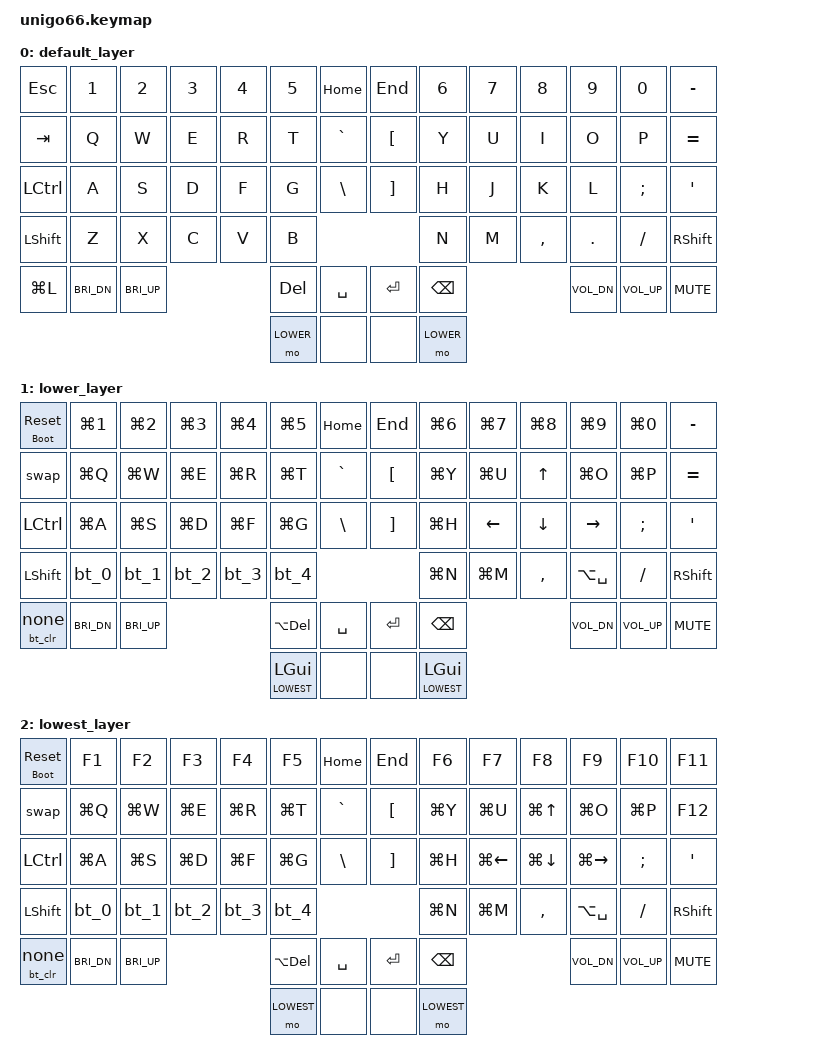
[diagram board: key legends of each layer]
/*
 * Copyright (c) 2020 The ZMK Contributors
 *
 * SPDX-License-Identifier: MIT
 */

#include <behaviors.dtsi>
#include <dt-bindings/zmk/keys.h>
#include <dt-bindings/zmk/bt.h>
#include <dt-bindings/zmk/outputs.h>

#define BASE 0
#define LOWER 1
#define LOWEST 2

/ {
    macros {
        bt_clr: bt-macro {
            compatible = "zmk,behavior-macro";
            #binding-cells = <0>;
            bindings = <&macro_tap &bt BT_CLR>;
        };
        bt_0: bt-sel-0 {
            compatible = "zmk,behavior-macro";
            #binding-cells = <0>;
            bindings = <&macro_tap &out OUT_USB &bt BT_ADV_OFF &bt BT_DISC 1 &bt BT_DISC 2 &bt BT_DISC 3 &bt BT_DISC 4>;
        };
        bt_1: bt-sel-1 {
            compatible = "zmk,behavior-macro";
            #binding-cells = <0>;
            bindings = <&macro_tap &out OUT_BLE &bt BT_ADV_ON &bt BT_SEL 1>;
        };
        bt_2: bt-sel-2 {
            compatible = "zmk,behavior-macro";
            #binding-cells = <0>;
            bindings = <&macro_tap &out OUT_BLE &bt BT_ADV_ON &bt BT_SEL 2>;
        };
        bt_3: bt-sel-3 {
            compatible = "zmk,behavior-macro";
            #binding-cells = <0>;
            bindings = <&macro_tap &out OUT_BLE &bt BT_ADV_ON &bt BT_SEL 3>;
        };
        bt_4: bt-sel-4 {
            compatible = "zmk,behavior-macro";
            #binding-cells = <0>;
            bindings = <&macro_tap &out OUT_BLE &bt BT_ADV_ON &bt BT_SEL 4>;
        };
    };

    behaviors {
        bt_lp: behavior_bt_lp {
            compatible = "zmk,behavior-hold-tap";
            #binding-cells = <2>;
            flavor = "tap-preferred";
            tapping-term-ms = <1000>;
            bindings = <&bt_clr>, <&none>;
        };
        rst_lp: behavior_rst_lp {
            compatible = "zmk,behavior-hold-tap";
            #binding-cells = <2>;
            flavor = "tap-preferred";
            tapping-term-ms = <1000>;
            bindings = <&bootloader>, <&sys_reset>;
        };
    };

    swap: swapper {
        compatible = "zmk,behavior-tri-state";
        #binding-cells = <0>;
        bindings = <&kt LALT>, <&kp TAB>, <&kt LALT>;
        ignored-key-positions = <42 55>;
    };

    keymap {
        compatible = "zmk,keymap";

        default_layer {
// ┏━━━━━━━┳━━━━━┳━━━━━┳━━━━━┳━━━━━┳━━━━━┳━━━━━┓            ┏━━━━━┳━━━━━┳━━━━━┳━━━━━┳━━━━━┳━━━━━┳━━━━━━━┓
// ┃  ESC  ┃  1  ┃  2  ┃  3  ┃  4  ┃  5  ┃ HOME┃            ┃ END ┃  6  ┃  7  ┃  8  ┃  9  ┃  0  ┃   -   ┃
// ┣━━━━━━━╋━━━━━╋━━━━━╋━━━━━╋━━━━━╋━━━━━╋━━━━━┫            ┣━━━━━╋━━━━━╋━━━━━╋━━━━━╋━━━━━╋━━━━━╋━━━━━━━┫
// ┃  TAB  ┃  Q  ┃  W  ┃  E  ┃  R  ┃  T  ┃  `  ┃            ┃  [  ┃  Y  ┃  U  ┃  I  ┃  O  ┃  P  ┃   =   ┃
// ┣━━━━━━━╋━━━━━╋━━━━━╋━━━━━╋━━━━━╋━━━━━┫     ┃            ┃     ┣━━━━━╋━━━━━╋━━━━━╋━━━━━╋━━━━━╋━━━━━━━┫
// ┃  CTRL ┃  A  ┃  S  ┃  D  ┃  F  ┃  G  ┣━━━━━┫            ┣━━━━━┫  H  ┃  J  ┃  K  ┃  L  ┃  ;  ┃   '   ┃
// ┣━━━━━━━╋━━━━━╋━━━━━╋━━━━━╋━━━━━╋━━━━━┃  \  ┃            ┃  ]  ┣━━━━━╋━━━━━╋━━━━━╋━━━━━╋━━━━━╋━━━━━━━┫
// ┃  SHFT ┃  Z  ┃  X  ┃  C  ┃  V  ┃  B  ┃     ┃            ┃     ┃  N  ┃  M  ┃  ,  ┃  .  ┃  /  ┃ SHFT  ┃
// ┗━┳━━━━━╋━━━━━╋━━━━━╋━━━━━┻━━━━━╋━━━━━╋━━━━━┫            ┣━━━━━╋━━━━━╋━━━━━┻━━━━━╋━━━━━╋━━━━━╋━━━━━┳━┛
//   ┃SLEEP┃ BRT-┃ BRT+┃           ┃ DEL ┃     ┃            ┃     ┃ BSP ┃           ┃VOL- ┃VOL+ ┃MUTE ┃
//   ┗━━━━━┻━━━━━┻━━━━━┛           ┣━━━━━┫ SPC ┃            ┃ ENT ┣━━━━━┫           ┗━━━━━┻━━━━━┻━━━━━┛
//                                 ┃ LWR ┃     ┃            ┃     ┃ LWR ┃
//                                 ┗━━━━━┻━━━━━┛            ┗━━━━━┻━━━━━┛
            bindings = <
&kp ESC   &kp N1       &kp N2       &kp N3 &kp N4 &kp N5    &kp HOME       &kp END   &kp N6    &kp N7 &kp N8    &kp N9       &kp N0       &kp MINUS
&kp TAB   &kp Q        &kp W        &kp E  &kp R  &kp T     &kp GRAVE      &kp LBKT  &kp Y     &kp U  &kp I     &kp O        &kp P        &kp EQUAL
&kp LCTRL &kp A        &kp S        &kp D  &kp F  &kp G     &kp BSLH       &kp RBKT  &kp H     &kp J  &kp K     &kp L        &kp SEMI     &kp SQT
&kp LSHFT &kp Z        &kp X        &kp C  &kp V  &kp B                              &kp N     &kp M  &kp COMMA &kp DOT      &kp FSLH     &kp RSHFT
&kp LG(L) &kp C_BRI_DN &kp C_BRI_UP               &kp DEL   &kp SPACE      &kp ENTER &kp BSPC                   &kp C_VOL_DN &kp C_VOL_UP &kp C_MUTE
                                                  &mo LOWER &none          &none     &mo LOWER
            >;
        };

        lower_layer {
// ┏━━━━━━━┳━━━━━┳━━━━━┳━━━━━┳━━━━━┳━━━━━┳━━━━━┓            ┏━━━━━┳━━━━━┳━━━━━┳━━━━━┳━━━━━┳━━━━━┳━━━━━━━┓
// ┃  RST  ┃ Win1┃ Win2┃ Win3┃ Win4┃ Win5┃ HOME┃            ┃ END ┃Win6 ┃Win7 ┃Win8 ┃Win9 ┃Win0 ┃   -   ┃
// ┣━━━━━━━╋━━━━━╋━━━━━╋━━━━━╋━━━━━╋━━━━━╋━━━━━┫            ┣━━━━━╋━━━━━╋━━━━━╋━━━━━╋━━━━━╋━━━━━╋━━━━━━━┫
// ┃ AlTAB ┃ WinQ┃ WinW┃ WinE┃ WinR┃ WinT┃  `  ┃            ┃  [  ┃WinY ┃WinU ┃  ↑  ┃WinO ┃WinP ┃   =   ┃
// ┣━━━━━━━╋━━━━━╋━━━━━╋━━━━━╋━━━━━╋━━━━━┫     ┃            ┃     ┣━━━━━╋━━━━━╋━━━━━╋━━━━━╋━━━━━╋━━━━━━━┫
// ┃  CTRL ┃ WinA┃ WinS┃ WinD┃ WinF┃ WinG┣━━━━━┫            ┣━━━━━┫WinH ┃  ←  ┃  ↓  ┃  →  ┃  ;  ┃   '   ┃
// ┣━━━━━━━╋━━━━━╋━━━━━╋━━━━━╋━━━━━╋━━━━━┃  \  ┃            ┃  ]  ┣━━━━━╋━━━━━╋━━━━━╋━━━━━╋━━━━━╋━━━━━━━┫
// ┃  SHFT ┃ BT0 ┃ BT1 ┃ BT2 ┃ BT3 ┃ BT4 ┃     ┃            ┃     ┃WinN ┃WinM ┃  ,  ┃EMOJI┃  /  ┃ SHFT  ┃
// ┗━┳━━━━━╋━━━━━╋━━━━━╋━━━━━┻━━━━━╋━━━━━╋━━━━━┫            ┣━━━━━╋━━━━━╋━━━━━┻━━━━━╋━━━━━╋━━━━━╋━━━━━┳━┛
//   ┃BTCLR┃ BRT-┃ BRT+┃           ┃AltDL┃     ┃            ┃     ┃ BSP ┃           ┃VOL- ┃VOL+ ┃MUTE ┃
//   ┗━━━━━┻━━━━━┻━━━━━┛           ┣━━━━━┫ SPC ┃            ┃ ENT ┣━━━━━┫           ┗━━━━━┻━━━━━┻━━━━━┛
//                                 ┃ Win ┃     ┃            ┃     ┃ Win ┃
//                                 ┗━━━━━┻━━━━━┛            ┗━━━━━┻━━━━━┛
            bindings = <
&rst_lp 0 0 &kp LG(N1)   &kp LG(N2)   &kp LG(N3) &kp LG(N4) &kp LG(N5)      &kp HOME       &kp END   &kp LG(N6)      &kp LG(N7) &kp LG(N8) &kp LG(N9)   &kp LG(N0)   &kp MINUS
&swap       &kp LG(Q)    &kp LG(W)    &kp LG(E)  &kp LG(R)  &kp LG(T)       &kp GRAVE      &kp LBKT  &kp LG(Y)       &kp LG(U)  &kp UP     &kp LG(O)    &kp LG(P)    &kp EQUAL
&kp LCTRL   &kp LG(A)    &kp LG(S)    &kp LG(D)  &kp LG(F)  &kp LG(G)       &kp BSLH       &kp RBKT  &kp LG(H)       &kp LEFT   &kp DOWN   &kp RIGHT    &kp SEMI     &kp SQT
&kp LSHFT   &bt_0        &bt_1        &bt_2      &bt_3      &bt_4                                    &kp LG(N)       &kp LG(M)  &kp COMMA  &kp LA(SPC)  &kp FSLH     &kp RSHFT
&bt_lp 0 0  &kp C_BRI_DN &kp C_BRI_UP                       &kp LA(DEL)     &kp SPACE      &kp ENTER &kp BSPC                              &kp C_VOL_DN &kp C_VOL_UP &kp C_MUTE
                                                            &lt LOWEST LGUI &none          &none     &lt LOWEST LGUI
            >;
        };

        lowest_layer {
// ┏━━━━━━━┳━━━━━┳━━━━━┳━━━━━┳━━━━━┳━━━━━┳━━━━━┓            ┏━━━━━┳━━━━━┳━━━━━┳━━━━━┳━━━━━┳━━━━━┳━━━━━━━┓
// ┃  RST  ┃ Win1┃ Win2┃ Win3┃ Win4┃ Win5┃ HOME┃            ┃ END ┃Win6 ┃Win7 ┃Win8 ┃Win9 ┃Win0 ┃   -   ┃
// ┣━━━━━━━╋━━━━━╋━━━━━╋━━━━━╋━━━━━╋━━━━━╋━━━━━┫            ┣━━━━━╋━━━━━╋━━━━━╋━━━━━╋━━━━━╋━━━━━╋━━━━━━━┫
// ┃ AlTAB ┃ WinQ┃ WinW┃ WinE┃ WinR┃ WinT┃  `  ┃            ┃  [  ┃WinY ┃WinU ┃  ↑  ┃WinO ┃WinP ┃   =   ┃
// ┣━━━━━━━╋━━━━━╋━━━━━╋━━━━━╋━━━━━╋━━━━━┫     ┃            ┃     ┣━━━━━╋━━━━━╋━━━━━╋━━━━━╋━━━━━╋━━━━━━━┫
// ┃  CTRL ┃ WinA┃ WinS┃ WinD┃ WinF┃ WinG┣━━━━━┫            ┣━━━━━┫WinH ┃  ←  ┃  ↓  ┃  →  ┃  ;  ┃   '   ┃
// ┣━━━━━━━╋━━━━━╋━━━━━╋━━━━━╋━━━━━╋━━━━━┃  \  ┃            ┃  ]  ┣━━━━━╋━━━━━╋━━━━━╋━━━━━╋━━━━━╋━━━━━━━┫
// ┃  SHFT ┃ BT0 ┃ BT1 ┃ BT2 ┃ BT3 ┃ BT4 ┃     ┃            ┃     ┃WinN ┃WinM ┃  ,  ┃EMOJI┃  /  ┃ SHFT  ┃
// ┗━┳━━━━━╋━━━━━╋━━━━━╋━━━━━┻━━━━━╋━━━━━╋━━━━━┫            ┣━━━━━╋━━━━━╋━━━━━┻━━━━━╋━━━━━╋━━━━━╋━━━━━┳━┛
//   ┃BTCLR┃ BRT-┃ BRT+┃           ┃AltDL┃     ┃            ┃     ┃ BSP ┃           ┃VOL- ┃VOL+ ┃MUTE ┃
//   ┗━━━━━┻━━━━━┻━━━━━┛           ┣━━━━━┫ SPC ┃            ┃ ENT ┣━━━━━┫           ┗━━━━━┻━━━━━┻━━━━━┛
//                                 ┃ Win ┃     ┃            ┃     ┃ Win ┃
//                                 ┗━━━━━┻━━━━━┛            ┗━━━━━┻━━━━━┛
            bindings = <
&rst_lp 0 0 &kp F1       &kp F2       &kp F3    &kp F4    &kp F5      &kp HOME       &kp END   &kp F6     &kp F7       &kp F8       &kp F9        &kp F10      &kp F11
&swap       &kp LG(Q)    &kp LG(W)    &kp LG(E) &kp LG(R) &kp LG(T)   &kp GRAVE      &kp LBKT  &kp LG(Y)  &kp LG(U)    &kp LG(UP)   &kp LG(O)     &kp LG(P)    &kp F12
&kp LCTRL   &kp LG(A)    &kp LG(S)    &kp LG(D) &kp LG(F) &kp LG(G)   &kp BSLH       &kp RBKT  &kp LG(H)  &kp LG(LEFT) &kp LG(DOWN) &kp LG(RIGHT) &kp SEMI     &kp SQT
&kp LSHFT   &bt_0        &bt_1        &bt_2     &bt_3     &bt_4                                &kp LG(N)  &kp LG(M)    &kp COMMA    &kp LA(SPC)   &kp FSLH     &kp RSHFT
&bt_lp 0 0  &kp C_BRI_DN &kp C_BRI_UP                     &kp LA(DEL) &kp SPACE      &kp ENTER &kp BSPC                             &kp C_VOL_DN  &kp C_VOL_UP &kp C_MUTE
                                                          &mo LOWEST  &none          &none     &mo LOWEST
            >;
        };
    };
};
